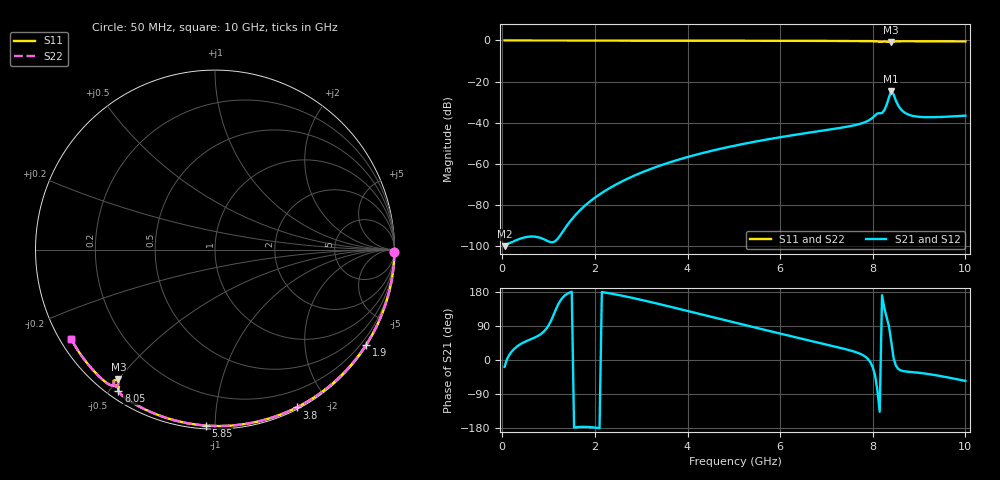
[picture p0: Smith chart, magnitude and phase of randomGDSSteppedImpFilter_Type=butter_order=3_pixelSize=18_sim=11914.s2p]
! freq	dB(S11)	phase(S11)	dB(S12)	phase(S12)
!  dB(S21)	phase(S21)	dB(S22)	phase(S22)
!S-par simulation data
#  GHz  S  DB  R 50
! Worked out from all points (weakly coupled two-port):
!   200 points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, 50 MHz to 10 GHz, reference 50 ohm
!   highest |S21| = -24.61 dB at 8.4 GHz (marker M1); lowest = -100.0 dB at 50 MHz (marker M2)
!   lowest |S11| = -0.9 dB at 8.4 GHz (marker M3), VSWR 19.14, Z = 3.27 - j25 ohm
!   |S11| at or under -10 dB: nowhere
!   |S22| runs from -0.9 to 0.0 dB; largest |S21 - S12| = 0
!   S11 on the Smith chart (normalised r, x): 50 MHz: open; 1.9 GHz: 0.03, -3.46; 3.8 GHz: 0.02, -1.64; 5.85 GHz: 0.02, -0.95; 8.05 GHz: 0.03, -0.53; 10 GHz: 0.03, -0.28
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0.05  -0.00 -0.9  -100.04 -18.1  -100.04 -18.1  -0.00 -0.9
0.85  -0.02 -14.6  -96.23 70.0  -96.23 70.0  -0.02 -14.6
1.75  -0.04 -29.7  -81.04 -176.3  -81.04 -176.3  -0.04 -29.7
1.8  -0.04 -30.5  -80.03 -176.5  -80.03 -176.5  -0.04 -30.5
1.9  -0.04 -32.2  -78.17 -177.1  -78.17 -177.1  -0.04 -32.2
2.55  -0.06 -42.9  -68.94 170.6  -68.94 170.6  -0.06 -42.9
3.4  -0.08 -56.4  -60.90 147.3  -60.90 147.3  -0.08 -56.4
3.8  -0.09 -62.7  -57.99 135.4  -57.99 135.4  -0.09 -62.7
5.05  -0.13 -81.4  -51.02 97.9  -51.02 97.9  -0.13 -81.4
5.85  -0.16 -93.0  -47.63 74.1  -47.63 74.1  -0.16 -93.0
6.7  -0.20 -104.9  -44.57 49.3  -44.57 49.3  -0.20 -104.9
7.7  -0.28 -118.7  -40.71 17.8  -40.71 17.8  -0.28 -118.7
7.9  -0.31 -121.7  -39.03 2.1  -39.03 2.1  -0.31 -121.7
8.05  -0.42 -124.3  -36.45 -41.2  -36.45 -41.2  -0.41 -124.3
8.2  -0.55 -125.1  -35.30 171.0  -35.30 171.0  -0.54 -125.1
8.25  -0.52 -125.9  -33.87 136.5  -33.87 136.5  -0.52 -125.9
8.35  -0.69 -127.7  -27.66 88.7  -27.66 88.7  -0.70 -127.8
8.4  -0.91 -126.7  -24.61 47.7  -24.61 47.7  -0.92 -126.8
8.6  -0.39 -128.8  -33.28 -27.2  -33.28 -27.2  -0.39 -128.8
8.8  -0.38 -132.0  -36.29 -31.4  -36.29 -31.4  -0.38 -132.0
9.2  -0.41 -137.5  -37.33 -37.0  -37.33 -37.0  -0.41 -137.5
10  -0.50 -148.3  -36.57 -55.2  -36.57 -55.2  -0.50 -148.2
